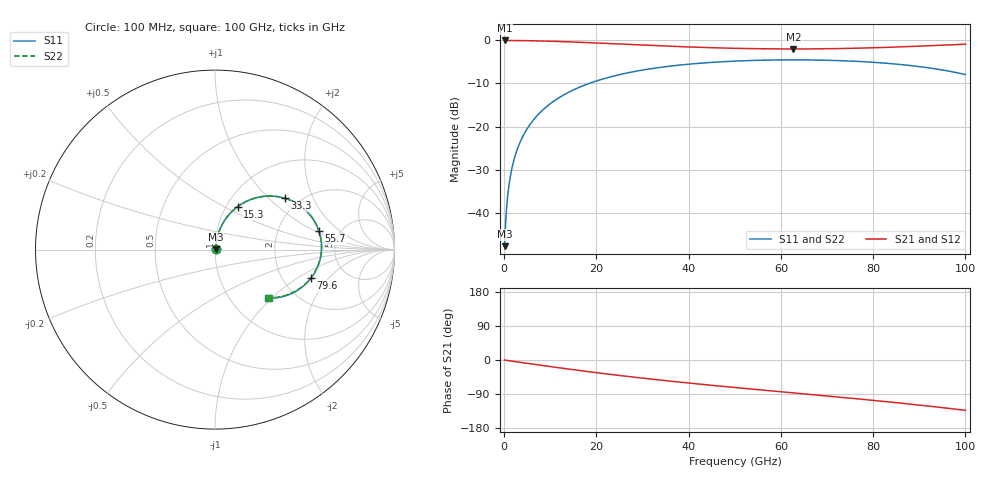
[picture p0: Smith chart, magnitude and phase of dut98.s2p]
! Touchstone file exported from HFSS 2026.1.0
!  File:  C:/ffzhzh/LocalFiles/Ansys_Project_Files/temp_train_RDL_98_1783499050_41296.aedt
!  Generated:  04:25:19 PM Jul  8, 2026
!  Design:  RDL
!  Project:  temp_train_RDL_98_1783499050_41296
! Variables:
!  h_bsmrdl = 2um
!  h_ox = 20um
!  h_rdl = 5um
!  h_sub = 80um
!  h_tmrdl = 2.27um
!  h_tsv = 80um
!  h_via = 3um
!  l_bsmrdl = 300um
!  l_sub = 845.27um
!  l_tmrdl = 445.27um
!  m_sub = 200um
!  pitch = 49.97um
!  r_tsv = 6um
!  s_tmrdl = 10um
!  w_bsmrdl = 18um
!  w_sub = 500um
!  w_tmrdl = 21.24um
!  x_tsv_center1 = 455.89um
!  x_tsv_center2 = 773.89um
!  x_tsv_center3 = 1240.4um
!  x_tsv_center4 = 1558.4um
!  x_tsv_center5 = 2024.91um
!  x_tsv_center6 = 2342.91um
# GHz S MA R 50.000000
! Terminal data exported
! Port[1] = TM_RDL1_1_T1
! Port[2] = TM_RDL1_1_T2
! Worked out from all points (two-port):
!   1000 points, 100 MHz to 100 GHz, reference 50 ohm
!   highest |S21| = -0.03 dB at 100 MHz (marker M1); lowest = -2.0 dB at 62.7 GHz (marker M2)
!   |S21| within 3 dB of the highest: start of sweep to end of sweep
!   lowest |S11| = -47.7 dB at 100 MHz (marker M3), VSWR 1.01, Z = 50.4 + j0.21 ohm
!   |S11| at or under -10 dB: start of sweep to 18.4 GHz
!   |S22| runs from -47.7 to -4.5 dB; largest |S21 - S12| = 1.6e-14
!   S11 on the Smith chart (normalised r, x): 100 MHz: 1.01, +0.00; 15.3 GHz: 1.13, +0.58; 33.3 GHz: 1.68, +1.25; 55.7 GHz: 3.48, +1.10; 79.6 GHz: 2.86, -1.31; 100 GHz: 1.48, -0.95
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0.1  0.004126 30.4  0.9964 -0.2  0.9964 -0.2  0.004126 30.4
! Gamma 0 0 0 0
! Port Impedance 50 0 50 0
0.9  0.01829 74.6  0.9955 -1.6  0.9955 -1.6  0.01829 74.6
1.2  0.02384 77.0  0.9952 -2.1  0.9952 -2.1  0.02384 77.0
1.5  0.02943 78.3  0.995 -2.7  0.995 -2.7  0.02943 78.3
2.5  0.04816 79.8  0.994 -4.4  0.994 -4.4  0.04816 79.8
3.9  0.07437 79.2  0.9921 -6.9  0.9921 -6.9  0.07437 79.2
5.9  0.1114 76.8  0.9883 -10.4  0.9883 -10.4  0.1114 76.8
8.4  0.1565 73.1  0.9815 -14.7  0.9815 -14.7  0.1565 73.1
11.5  0.2099 68.2  0.9706 -19.9  0.9706 -19.9  0.2099 68.2
15.3  0.2707 62.2  0.9545 -26.1  0.9545 -26.1  0.2707 62.2
16.8  0.2932 59.8  0.9475 -28.5  0.9475 -28.5  0.2932 59.9
24.2  0.391 48.8  0.9105 -39.7  0.9105 -39.7  0.391 48.9
33.3  0.4816 36.5  0.8659 -52.3  0.8659 -52.3  0.4816 36.6
33.4  0.4824 36.3  0.8655 -52.4  0.8655 -52.4  0.4824 36.5
50.1  0.5747 16.3  0.808 -72.7  0.808 -72.7  0.5747 16.5
55.7  0.5881 10.1  0.7985 -79.0  0.7985 -79.0  0.5881 10.3
62.7  0.594 2.4  0.7943 -86.8  0.7943 -86.8  0.594 2.7
66.7  0.5921 -2.0  0.7957 -91.3  0.7957 -91.3  0.5921 -1.7
79.6  0.5584 -16.5  0.8187 -106.0  0.8187 -106.0  0.5584 -16.1
83.4  0.5397 -21.0  0.8306 -110.6  0.8306 -110.6  0.5397 -20.6
92.3  0.4779 -32.1  0.8658 -122.0  0.8658 -122.0  0.4778 -31.6
100  0.4015 -42.4  0.9016 -132.8  0.9016 -132.8  0.4015 -41.9
